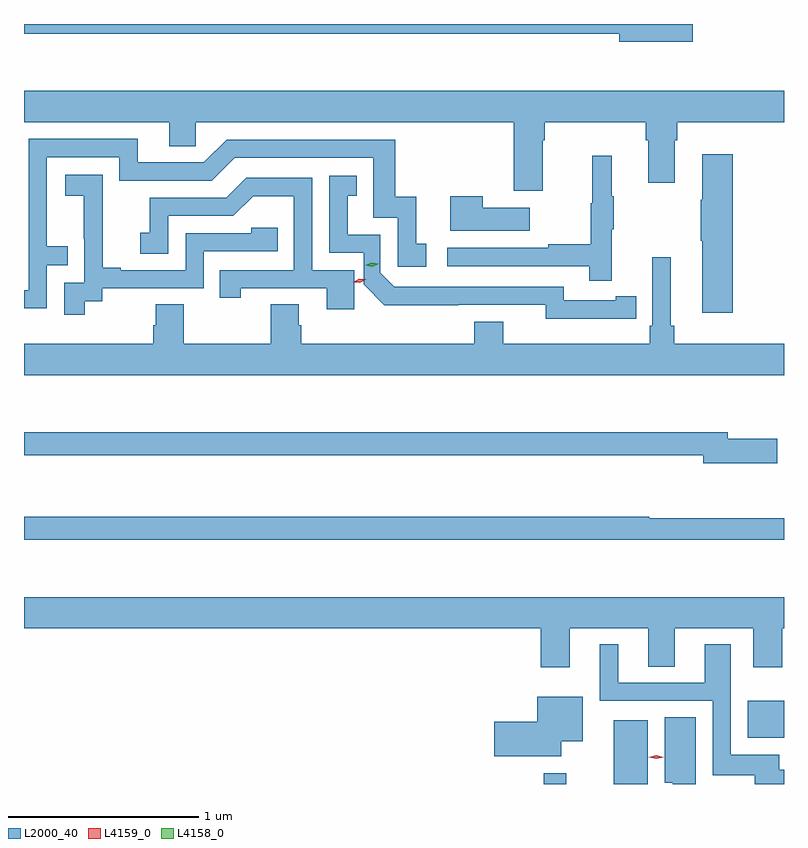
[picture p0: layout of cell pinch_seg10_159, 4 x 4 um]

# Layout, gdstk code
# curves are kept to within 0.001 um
import gdstk
lib = gdstk.Library(unit=1e-6, precision=1e-09)
def R(c, l, rs):  # rectangles x0, y0, x1, y1
    for r in rs: c.add(gdstk.rectangle(r[:2], r[2:], *l))
def P(c, l, *ps):  # polygons
    for p in ps: c.add(gdstk.Polygon(p, *l))
L2000_40 = (2000, 40)
L4158_0 = (4158, 0)
L4159_0 = (4159, 0)

pinch_seg10_159 = lib.new_cell('pinch_seg10_159')
R(pinch_seg10_159, L2000_40, [(678.655,1263.532,678.774,1263.589), (679.025,1263.532,679.204,1263.868), (679.73,1263.776,679.92,1263.97)])
P(pinch_seg10_159, L2000_40, [(679.441,1267.532),(675.92,1267.532),(675.92,1267.482),(679.052,1267.482),(679.052,1267.439),(679.441,1267.439)],
  [(678.649,1266.92),(678.662,1266.92),(678.662,1267.016),(679.193,1267.016),(679.193,1266.92),(679.205,1266.92),(679.205,1266.696),(679.345,1266.696),(679.345,1266.92),(679.358,1266.92),(679.358,1267.016),(679.92,1267.016),(679.92,1267.18),(675.92,1267.18),(675.92,1267.016),(676.685,1267.016),(676.685,1266.889),(676.824,1266.889),(676.824,1267.016),(678.497,1267.016),(678.497,1266.654),(678.649,1266.654)],
  [(676.041,1266.261),(676.151,1266.261),(676.151,1266.362),(676.041,1266.362),(676.041,1266.831),(676.422,1266.831),(676.422,1266.708),(676.908,1266.708),(677.028,1266.828),(677.757,1266.828),(677.757,1266.513),(677.886,1266.513),(677.886,1266.255),(678.037,1266.255),(678.037,1266.375),(677.984,1266.375),(677.984,1266.622),(677.873,1266.622),(677.873,1266.924),(676.986,1266.924),(676.866,1266.804),(676.519,1266.804),(676.519,1266.927),(675.945,1266.927),(675.945,1266.132),(675.92,1266.132),(675.92,1266.036),(676.041,1266.036)],
  [(679.649,1266.847),(679.49,1266.847),(679.49,1266.608),(679.483,1266.608),(679.483,1266.391),(679.49,1266.391),(679.49,1266.012),(679.649,1266.012)],
  [(679.013,1266.451),(679.024,1266.451),(679.024,1266.625),(679.013,1266.625),(679.013,1266.838),(678.91,1266.838),(678.91,1266.588),(678.903,1266.588),(678.903,1266.374),(678.679,1266.374),(678.679,1266.354),(678.147,1266.354),(678.147,1266.258),(678.895,1266.258),(678.895,1266.18),(679.013,1266.18)],
  [(676.24,1266.073),(676.332,1266.073),(676.332,1266.141),(676.866,1266.141),(676.866,1266.336),(677.255,1266.336),(677.255,1266.459),(677.115,1266.459),(677.115,1266.432),(676.77,1266.432),(676.77,1266.237),(676.429,1266.237),(676.429,1266.25),(676.334,1266.25),(676.334,1266.533),(676.335,1266.533),(676.335,1266.739),(676.137,1266.739),(676.137,1266.629),(676.235,1266.629),(676.235,1266.401),(676.236,1266.401),(676.236,1266.171),(676.131,1266.171),(676.131,1266.003),(676.24,1266.003)],
  [(679.034,1265.982),(679.142,1265.982),(679.142,1266.098),(679.034,1266.098),(679.034,1266.078),(678.762,1266.078),(678.762,1266.15),(677.868,1266.15),(677.796,1266.222),(677.796,1266.423),(677.623,1266.423),(677.623,1266.627),(677.672,1266.627),(677.672,1266.733),(677.526,1266.733),(677.526,1266.327),(677.708,1266.327),(677.708,1266.161),(677.816,1266.053),(678.666,1266.054),(678.666,1265.981)],
  [(677.659,1266.237),(677.436,1266.237),(677.436,1266.723),(677.09,1266.723),(676.985,1266.618),(676.582,1266.618),(676.582,1266.433),(676.533,1266.433),(676.533,1266.324),(676.68,1266.324),(676.68,1266.522),(677.022,1266.522),(677.126,1266.626),(677.34,1266.626),(677.34,1266.237),(676.951,1266.237),(676.951,1266.09),(677.062,1266.09),(677.062,1266.141),(677.513,1266.141),(677.513,1266.03),(677.659,1266.03)],
  [(678.583,1266.565),(678.335,1266.565),(678.335,1266.625),(678.164,1266.625),(678.164,1266.443),(678.583,1266.443)],
  [(679.92,1265.848),(679.343,1265.848),(679.343,1265.944),(679.324,1265.944),(679.324,1266.304),(679.227,1266.304),(679.227,1265.944),(679.214,1265.944),(679.214,1265.848),(678.442,1265.848),(678.442,1265.965),(678.29,1265.965),(678.29,1265.848),(677.378,1265.848),(677.378,1265.946),(677.365,1265.946),(677.365,1266.056),(677.218,1266.056),(677.218,1265.848),(676.761,1265.848),(676.761,1266.056),(676.613,1266.056),(676.613,1265.946),(676.601,1265.946),(676.601,1265.848),(675.92,1265.848),(675.92,1265.684),(679.92,1265.684)],
  [(679.885,1265.349),(679.624,1265.349),(679.624,1265.383),(675.92,1265.383),(675.92,1265.262),(679.496,1265.262),(679.496,1265.219),(679.885,1265.219)],
  [(679.92,1264.931),(679.21,1264.931),(679.21,1264.939),(675.92,1264.939),(675.92,1264.818),(679.92,1264.818)],
  [(678.793,1264.352),(679.205,1264.352),(679.205,1264.15),(679.345,1264.15),(679.345,1264.352),(679.757,1264.352),(679.757,1264.146),(679.91,1264.146),(679.91,1264.352),(679.92,1264.352),(679.92,1264.516),(675.92,1264.516),(675.92,1264.352),(678.641,1264.352),(678.641,1264.146),(678.793,1264.146)],
  [(679.92,1263.607),(679.895,1263.607),(679.895,1263.687),(679.641,1263.687),(679.641,1264.267),(679.502,1264.267),(679.502,1264.065),(679.048,1264.065),(679.048,1264.267),(678.95,1264.267),(678.95,1263.969),(679.545,1263.969),(679.545,1263.579),(679.767,1263.579),(679.767,1263.532),(679.92,1263.532)],
  [(678.748,1263.758),(678.862,1263.758),(678.862,1263.991),(678.62,1263.991),(678.62,1263.86),(678.396,1263.86),(678.396,1263.677),(678.748,1263.677)],
  [(679.456,1263.884),(679.292,1263.884),(679.292,1263.539),(679.334,1263.539),(679.334,1263.532),(679.456,1263.532)])
P(pinch_seg10_159, L4158_0, [(677.753,1266.255),(677.716,1266.261),(677.716,1266.261),(677.716,1266.261),(677.751,1266.275),(677.788,1266.269),(677.788,1266.269),(677.788,1266.269)])
P(pinch_seg10_159, L4159_0, [(679.248,1263.664),(679.208,1263.674),(679.208,1263.674),(679.208,1263.674),(679.248,1263.684),(679.288,1263.674),(679.288,1263.674),(679.288,1263.674)],
  [(677.688,1266.171),(677.652,1266.172),(677.652,1266.172),(677.652,1266.173),(677.684,1266.191),(677.72,1266.189),(677.72,1266.189),(677.72,1266.189)])

lib.write_gds('pinch_seg10_159.gds')
